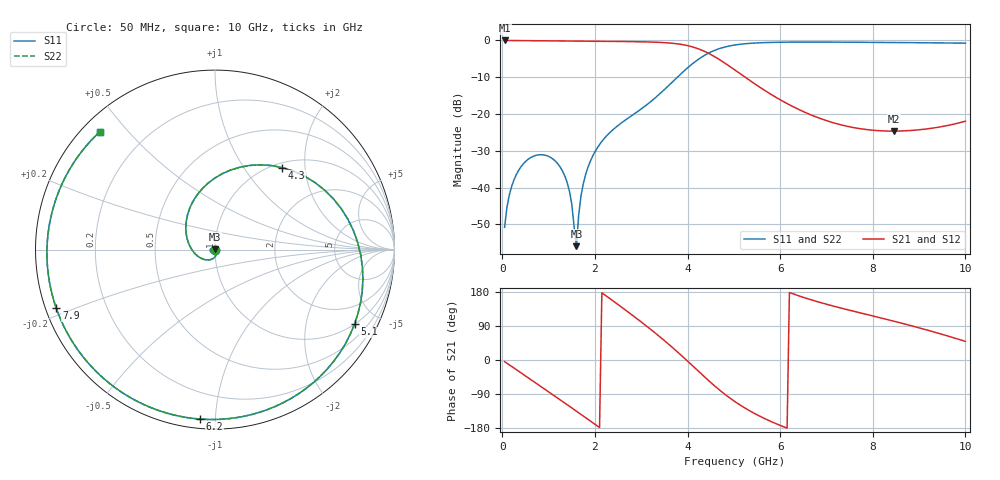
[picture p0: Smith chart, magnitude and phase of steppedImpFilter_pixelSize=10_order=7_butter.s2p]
! freq	dB(S11)	phase(S11)	dB(S12)	phase(S12)
!  dB(S21)	phase(S21)	dB(S22)	phase(S22)
!S-par simulation data
#  GHz  S  DB  R 50
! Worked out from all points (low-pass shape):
!   200 points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, 50 MHz to 10 GHz, reference 50 ohm
!   highest |S21| = -0.01 dB at 50 MHz (marker M1); lowest = -24.6 dB at 8.45 GHz (marker M2)
!   |S21| within 3 dB of the highest: start of sweep to 4.373 GHz
!   lowest |S11| = -55.9 dB at 1.6 GHz (marker M3), VSWR 1.00, Z = 50.1 + j0.0673 ohm
!   |S11| at or under -10 dB: start of sweep to 3.779 GHz
!   |S22| runs from -55.7 to -0.4 dB; largest |S21 - S12| = 0
!   S11 on the Smith chart (normalised r, x): 50 MHz: 1.00, -0.01; 4.3 GHz: 1.08, +1.52; 5.1 GHz: 1.01, -3.74; 6.2 GHz: 0.05, -0.92; 7.9 GHz: 0.03, -0.18; 10 GHz: 0.05, +0.42
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0.05  -50.77 -85.7  -0.01 -4.3  -0.01 -4.3  -50.77 -85.7
0.15  -42.09 -98.8  -0.02 -12.7  -0.02 -12.7  -42.09 -98.8
0.35  -35.36 -119.0  -0.04 -29.4  -0.04 -29.4  -35.36 -119.0
0.95  -31.26 -172.4  -0.10 -79.8  -0.10 -79.8  -31.27 -172.5
1.4  -38.58 145.3  -0.13 -117.9  -0.13 -117.9  -38.58 145.1
1.6  -55.89 24.7  -0.15 -135.0  -0.15 -135.0  -55.72 25.0
1.75  -38.87 -52.6  -0.17 -147.9  -0.17 -147.9  -38.87 -52.4
2.45  -23.61 -120.0  -0.26 150.8  -0.26 150.8  -23.61 -119.9
2.95  -19.07 -166.7  -0.36 105.1  -0.36 105.1  -19.07 -166.7
3.4  -14.51 149.1  -0.53 61.4  -0.53 61.4  -14.51 149.1
3.85  -9.16 101.4  -1.05 13.9  -1.05 13.9  -9.16 101.4
4.3  -4.57 50.7  -2.60 -37.0  -2.60 -37.0  -4.57 50.6
4.7  -2.17 7.7  -5.29 -80.1  -5.29 -80.1  -2.17 7.7
5.05  -1.18 -24.1  -8.28 -112.0  -8.28 -112.0  -1.18 -24.1
5.1  -1.10 -28.1  -8.72 -116.1  -8.72 -116.1  -1.10 -28.1
5.6  -0.62 -63.0  -13.04 -150.8  -13.04 -150.8  -0.62 -63.0
6.2  -0.46 -95.0  -17.49 178.1  -17.49 178.1  -0.46 -95.0
6.7  -0.45 -116.7  -20.41 157.7  -20.41 157.7  -0.45 -116.7
7.9  -0.51 -159.7  -24.27 119.3  -24.27 119.3  -0.51 -159.7
8.35  -0.55 -174.1  -24.63 105.7  -24.63 105.7  -0.55 -174.1
8.45  -0.56 -177.2  -24.64 102.6  -24.64 102.6  -0.56 -177.2
10  -0.74 134.4  -21.93 49.1  -21.93 49.1  -0.74 134.4
